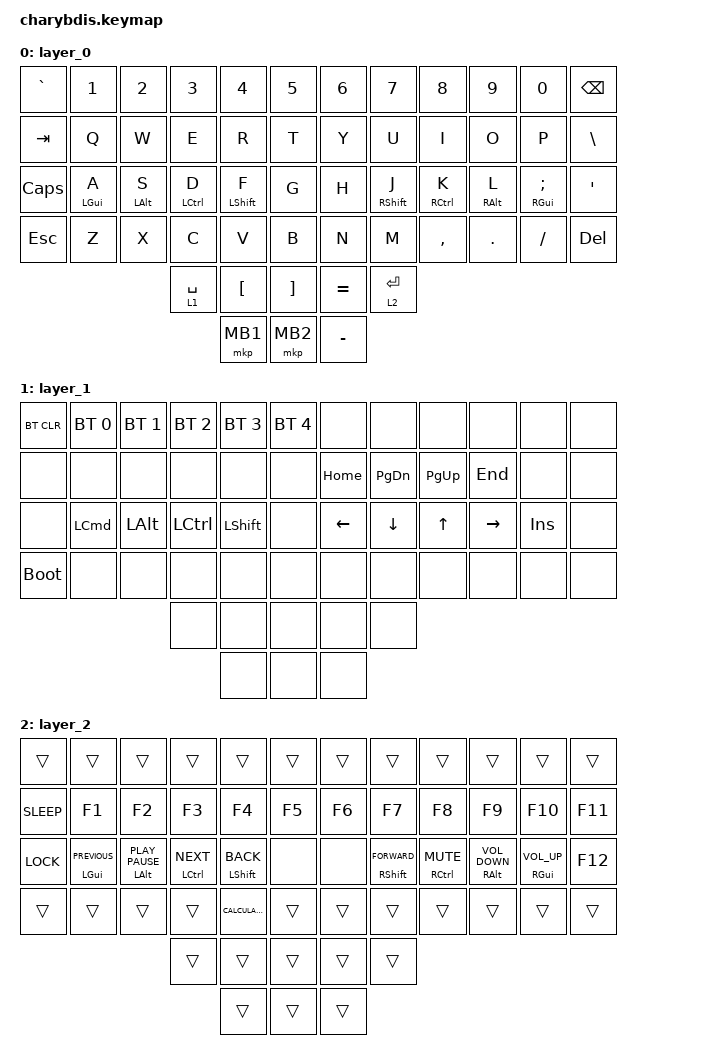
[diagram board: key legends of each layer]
#include <dt-bindings/zmk/mouse.h>
#include <behaviors.dtsi>
#include <dt-bindings/zmk/bt.h>
#include <dt-bindings/zmk/keys.h>
#include <dt-bindings/zmk/pointing.h>

&lt {
    tapping-term-ms = <200>;
    flavor = "balanced";
    quick-tap-ms = <150>;
};

&mt { flavor = "tap-preferred"; };

/ {
    keymap {
        compatible = "zmk,keymap";

        layer_0 {
            bindings = <
&kp GRAVE     &kp NUMBER_1    &kp NUMBER_2    &kp NUMBER_3        &kp NUMBER_4      &kp N5               &kp NUMBER_6  &kp N7             &kp N8               &kp N9           &kp N0              &kp BACKSPACE
&kp TAB       &kp Q           &kp W           &kp E               &kp R             &kp T                &kp Y         &kp U              &kp I                &kp O            &kp P               &kp BACKSLASH
&kp CAPSLOCK  &mt LEFT_GUI A  &mt LEFT_ALT S  &mt LEFT_CONTROL D  &mt LEFT_SHIFT F  &kp G                &kp H         &mt RIGHT_SHIFT J  &mt RIGHT_CONTROL K  &mt RIGHT_ALT L  &mt RIGHT_GUI SEMI  &kp SQT
&kp ESCAPE    &kp Z           &kp X           &kp C               &kp V             &kp B                &kp N         &kp M              &kp COMMA            &kp DOT          &kp FSLH            &kp DELETE
                                              &lt 1 SPACE         &kp LEFT_BRACKET  &kp RIGHT_BRACKET    &kp EQUAL     &lt 2 RETURN
                                                                  &mkp MB1          &mkp MB2             &kp MINUS
            >;

            trackball-bindings = <&tmv_coarse>;
        };

        layer_1 {
            bindings = <
&bt BT_CLR   &bt BT_SEL 0      &bt BT_SEL 1  &bt BT_SEL 2  &bt BT_SEL 3    &bt BT_SEL 4    &none     &none          &none         &none      &none    &none
&none        &none             &none         &none         &none           &none           &kp HOME  &kp PAGE_DOWN  &kp PG_UP     &kp END    &none    &none
&none        &kp LEFT_COMMAND  &kp LEFT_ALT  &kp LCTRL     &kp LEFT_SHIFT  &none           &kp LEFT  &kp DOWN       &kp UP_ARROW  &kp RIGHT  &kp INS  &none
&bootloader  &none             &none         &none         &none           &none           &none     &none          &none         &none      &none    &none
                                             &none         &none           &none           &none     &none
                                                           &none           &none           &none
            >;

            trackball-bindings = <&tsl>;
        };

        layer_2 {
            bindings = <
&trans       &trans                   &trans                     &trans                   &trans                 &trans    &trans  &trans                     &trans                    &trans                       &trans                  &trans
&kp K_SLEEP  &kp F1                   &kp F2                     &kp F3                   &kp F4                 &kp F5    &kp F6  &kp F7                     &kp F8                    &kp F9                       &kp F10                 &kp F11
&kp K_LOCK   &mt LEFT_GUI K_PREVIOUS  &mt LEFT_ALT K_PLAY_PAUSE  &mt LEFT_CONTROL K_NEXT  &mt LEFT_SHIFT K_BACK  &none     &none   &mt RIGHT_SHIFT K_FORWARD  &mt RIGHT_CONTROL K_MUTE  &mt RIGHT_ALT C_VOLUME_DOWN  &mt RIGHT_GUI C_VOL_UP  &kp F12
&trans       &trans                   &trans                     &trans                   &kp K_CALCULATOR       &trans    &trans  &trans                     &trans                    &trans                       &trans                  &trans
                                                                 &trans                   &trans                 &trans    &trans  &trans
                                                                                          &trans                 &trans    &trans
            >;
        };

        /* layer_2 {
            bindings = <
&none  &none   &none    &none   &none         &none         &kp N1         &none         &none     &none  &none   &to 0
&none  &none   &none    &none   &none         &none         &none         &none          &rgb_ug RGB_BRD &rgb_ug RGB_BRI  &rgb_ug RGB_EFF   &rgb_ug RGB_TOG
&none  &none   &none    &none   &none         &none         &none         &mkp LCLK     &mkp RCLK  &none  &none   &none
&none  &none   &none    &none   &bt BT_NXT  &bt BT_CLR    &none         &none         &none     &none  &none   &none
                                   &none         &none         &none         &none         &none
                                                 &none         &none         &none
            >;
          trackball-bindings = <&tsl>;
            
        };

       Mouse {
            bindings = <
&none        &none         &none         &none         &none      &none         &none       &none      &none         &none         &none         &none
&none        &bt BT_SEL 0  &bt BT_SEL 1  &bt BT_SEL 3  &none      &bt BT_CLR    &bt BT_CLR  &none      &bt BT_SEL 2  &bt BT_SEL 1  &bt BT_SEL 0  &none
&none        &trans        &trans        &mkp MCLK     &trans     &none         &none       &trans     &mkp MCLK     &trans        &trans        &none
&bootloader  &trans        &mkp RCLK     &mo 4         &mkp LCLK  &mo 5         &mo 5       &mkp LCLK  &mo 4         &mkp RCLK     &trans        &bootloader
                                         &mo 5         &mkp LCLK  &mkp RCLK     &mkp RCLK   &mkp LCLK
                                                       &none      &trans        &trans
            >;

            
        };

        layer_4 {
            bindings = <
&trans  &trans  &trans     &trans     &trans     &trans       &trans     &trans     &trans     &trans     &trans  &trans
&trans  &trans  &trans     &trans     &trans     &trans       &trans     &trans     &trans     &trans     &trans  &trans
&trans  &trans  &trans     &mkp MCLK  &trans     &trans       &trans     &trans     &mkp MCLK  &trans     &trans  &trans
&trans  &trans  &mkp RCLK  &trans     &mkp LCLK  &trans       &trans     &mkp LCLK  &trans     &mkp RCLK  &trans  &trans
                           &trans     &mkp LCLK  &mkp RCLK    &mkp RCLK  &mkp LCLK
                                      &trans     &trans       &trans
            >;
                
                
                trackball-bindings = <&tsl>;
        };

        layer_5 {
            bindings = <
&trans  &trans  &trans     &trans     &trans     &trans       &trans     &trans     &trans     &trans     &trans  &trans
&trans  &trans  &trans     &trans     &trans     &trans       &trans     &trans     &trans     &trans     &trans  &trans
&trans  &trans  &trans     &mkp MCLK  &trans     &trans       &trans     &trans     &mkp MCLK  &trans     &trans  &trans
&trans  &trans  &mkp RCLK  &trans     &mkp LCLK  &trans       &trans     &mkp LCLK  &trans     &mkp RCLK  &trans  &trans
                           &trans     &mkp LCLK  &mkp RCLK    &mkp RCLK  &mkp LCLK
                                      &trans     &trans       &trans
            >;
                trackball-bindings = <&tmv_fine>;
                
        };*/
    };
};
